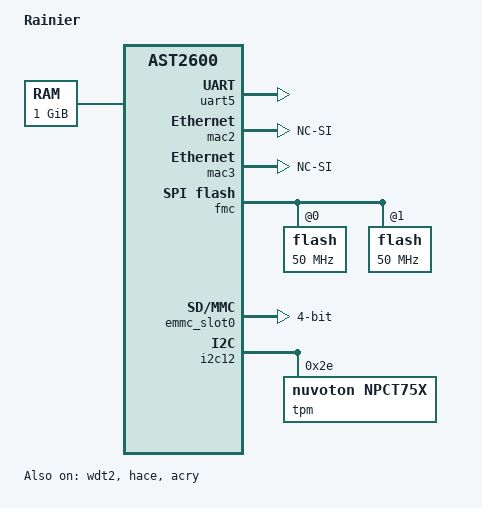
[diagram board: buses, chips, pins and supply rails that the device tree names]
// SPDX-License-Identifier: GPL-2.0+
// Copyright 2020 IBM Corp.
/dts-v1/;

#include "ast2600-u-boot.dtsi"

/ {
        model = "Rainier";
        compatible = "ibm,rainier-bmc", "aspeed,ast2600";

	memory {
		device_type = "memory";
		reg = <0x80000000 0x40000000>;
	};

	chosen {
		stdout-path = &uart5;
	};

	aliases {
		mmc0 = &emmc_slot0;
		spi0 = &fmc;
		spi1 = &spi1;
	};

	cpus {
		cpu@0 {
			// TODO: is this required?
			clock-frequency = <800000000>;
		};
		cpu@1 {
			clock-frequency = <800000000>;
		};
	};
};

&uart5 {
	u-boot,dm-pre-reloc;
	status = "okay";
};

&sdrammc {
	clock-frequency = <400000000>;
	aspeed,ecc-enabled;
};

&wdt2 {
	u-boot,dm-pre-reloc;
	status = "okay";
};

&mac2 {
	status = "okay";

	phy-mode = "NC-SI";
	use-ncsi;
	pinctrl-names = "default";
	pinctrl-0 = <&pinctrl_rmii3_default &pinctrl_rmii3rclk_default>;
};

&mac3 {
	status = "okay";

	phy-mode = "NC-SI";
	use-ncsi;
	pinctrl-names = "default";
	pinctrl-0 = <&pinctrl_rmii4_default &pinctrl_rmii4rclk_default>;
};

&fmc {
	status = "okay";

	pinctrl-names = "default";
	pinctrl-0 = <&pinctrl_fmcquad_default>;

	flash@0 {
		// TODO: what compatible strings should be here?
		status = "okay";
		spi-max-frequency = <50000000>;
		spi-tx-bus-width = <2>;
		spi-rx-bus-width = <2>;
	};

	flash@1 {
		status = "okay";
		spi-max-frequency = <50000000>;
		spi-tx-bus-width = <2>;
		spi-rx-bus-width = <2>;
	};
};

&emmc {
	u-boot,dm-pre-reloc;
	timing-phase = <0x700ff>;
};

&emmc_slot0 {
	u-boot,dm-pre-reloc;
	status = "okay";
	bus-width = <4>;
	pinctrl-names = "default";
	pinctrl-0 = <&pinctrl_emmc_default>;
	sdhci-drive-type = <1>;
};

&gpio0 {
	u-boot,dm-pre-reloc;
};

&i2c12 {
	status = "okay";

	tpm@2e {
		compatible = "nuvoton,npct75x";
		reg = <0x2e>;
	};
};

&hace {
	u-boot,dm-pre-reloc;
	status = "okay";
};

&acry {
	u-boot,dm-pre-reloc;
	status = "okay";
};
